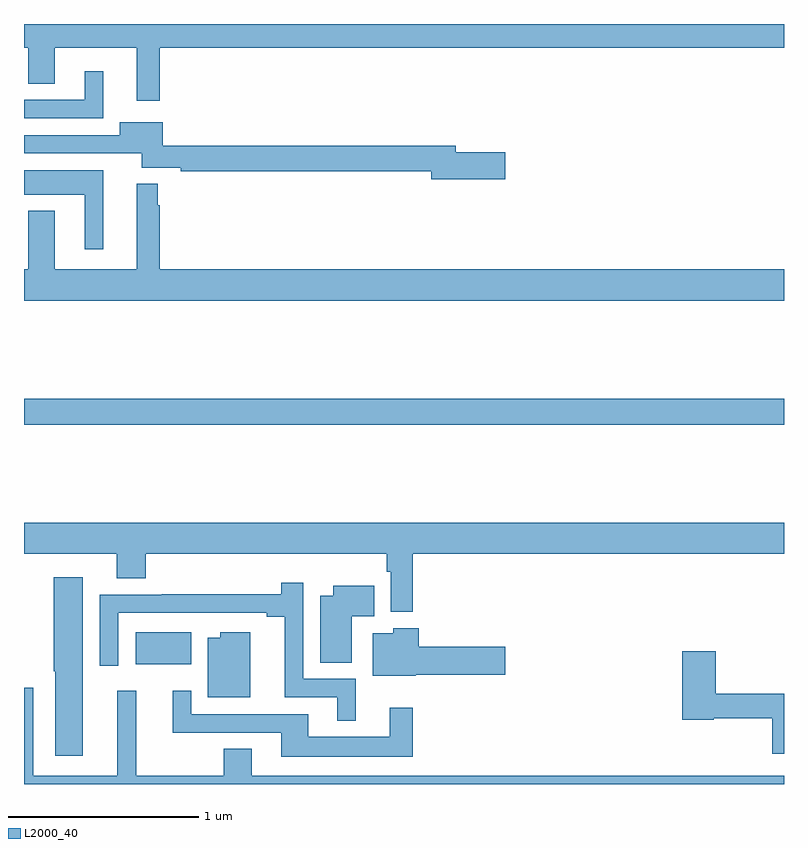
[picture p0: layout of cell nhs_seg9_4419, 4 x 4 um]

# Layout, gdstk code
import gdstk
lib = gdstk.Library(unit=1e-6, precision=1e-09)
def R(c, l, rs):  # rectangles x0, y0, x1, y1
    for r in rs: c.add(gdstk.rectangle(r[:2], r[2:], *l))
def P(c, l, *ps):  # polygons
    for p in ps: c.add(gdstk.Polygon(p, *l))
L2000_40 = (2000, 40)

nhs_seg9_4419 = lib.new_cell('nhs_seg9_4419')
R(nhs_seg9_4419, L2000_40, [(363.587,1237.13,363.88,1237.3), (363,1238.392,367,1238.528)])
P(nhs_seg9_4419, L2000_40, [(363.715,1240.376),(367,1240.376),(367,1240.5),(363,1240.5),(363,1240.376),(363.023,1240.376),(363.023,1240.186),(363.163,1240.186),(363.163,1240.376),(363.593,1240.376),(363.593,1240.095),(363.715,1240.095)],
  [(363.418,1240.252),(363.32,1240.252),(363.32,1240.101),(363,1240.101),(363,1240.005),(363.418,1240.005)],
  [(365.533,1239.824),(365.272,1239.824),(365.272,1239.86),(363.73,1239.86),(363.73,1239.982),(363.503,1239.982),(363.503,1239.915),(363,1239.915),(363,1239.819),(363.62,1239.819),(363.62,1239.744),(363.826,1239.744),(363.826,1239.724),(365.144,1239.724),(365.144,1239.682),(365.533,1239.682)],
  [(363.418,1239.73),(363,1239.73),(363,1239.602),(363.32,1239.602),(363.32,1239.315),(363.418,1239.315)],
  [(367,1239.208),(363.715,1239.208),(363.715,1239.545),(363.704,1239.545),(363.704,1239.658),(363.593,1239.658),(363.593,1239.208),(363.163,1239.208),(363.163,1239.517),(363.023,1239.517),(363.023,1239.208),(363,1239.208),(363,1239.044),(367,1239.044)],
  [(365.045,1237.712),(367,1237.712),(367,1237.876),(363,1237.876),(363,1237.712),(363.488,1237.712),(363.488,1237.582),(363.641,1237.582),(363.641,1237.712),(364.909,1237.712),(364.909,1237.616),(364.929,1237.616),(364.929,1237.406),(365.045,1237.406)],
  [(363.31,1237.588),(363.157,1237.588),(363.157,1237.093),(363.164,1237.093),(363.164,1236.648),(363.31,1236.648)],
  [(364.747,1237.053),(364.47,1237.053),(364.47,1237.558),(364.354,1237.558),(364.354,1237.499),(363.724,1237.499),(363.724,1237.497),(363.399,1237.497),(363.399,1237.122),(363.495,1237.122),(363.495,1237.401),(364.277,1237.401),(364.277,1237.381),(364.373,1237.381),(364.373,1236.957),(364.649,1236.957),(364.649,1236.833),(364.747,1236.833)],
  [(364.726,1237.382),(364.844,1237.382),(364.844,1237.543),(364.628,1237.543),(364.628,1237.492),(364.559,1237.492),(364.559,1237.138),(364.726,1237.138)],
  [(365.061,1237.076),(365.533,1237.076),(365.533,1237.223),(365.078,1237.223),(365.078,1237.321),(364.944,1237.321),(364.944,1237.294),(364.835,1237.294),(364.835,1237.07),(365.061,1237.07)],
  [(364.192,1237.3),(364.034,1237.3),(364.034,1237.27),(363.968,1237.27),(363.968,1236.956),(364.192,1236.956)],
  [(367,1236.974),(366.642,1236.974),(366.642,1237.198),(366.464,1237.198),(366.464,1236.838),(366.63,1236.838),(366.63,1236.846),(366.938,1236.846),(366.938,1236.659),(367,1236.659)],
  [(367,1236.544),(364.198,1236.544),(364.198,1236.686),(364.051,1236.686),(364.051,1236.544),(363.59,1236.544),(363.59,1236.991),(363.491,1236.991),(363.491,1236.544),(363.049,1236.544),(363.049,1237.006),(363,1237.006),(363,1236.5),(367,1236.5)],
  [(365.047,1236.901),(364.925,1236.901),(364.925,1236.748),(364.495,1236.748),(364.495,1236.867),(363.879,1236.867),(363.879,1236.991),(363.782,1236.991),(363.782,1236.771),(364.355,1236.771),(364.355,1236.644),(365.047,1236.644)])

lib.write_gds('nhs_seg9_4419.gds')
